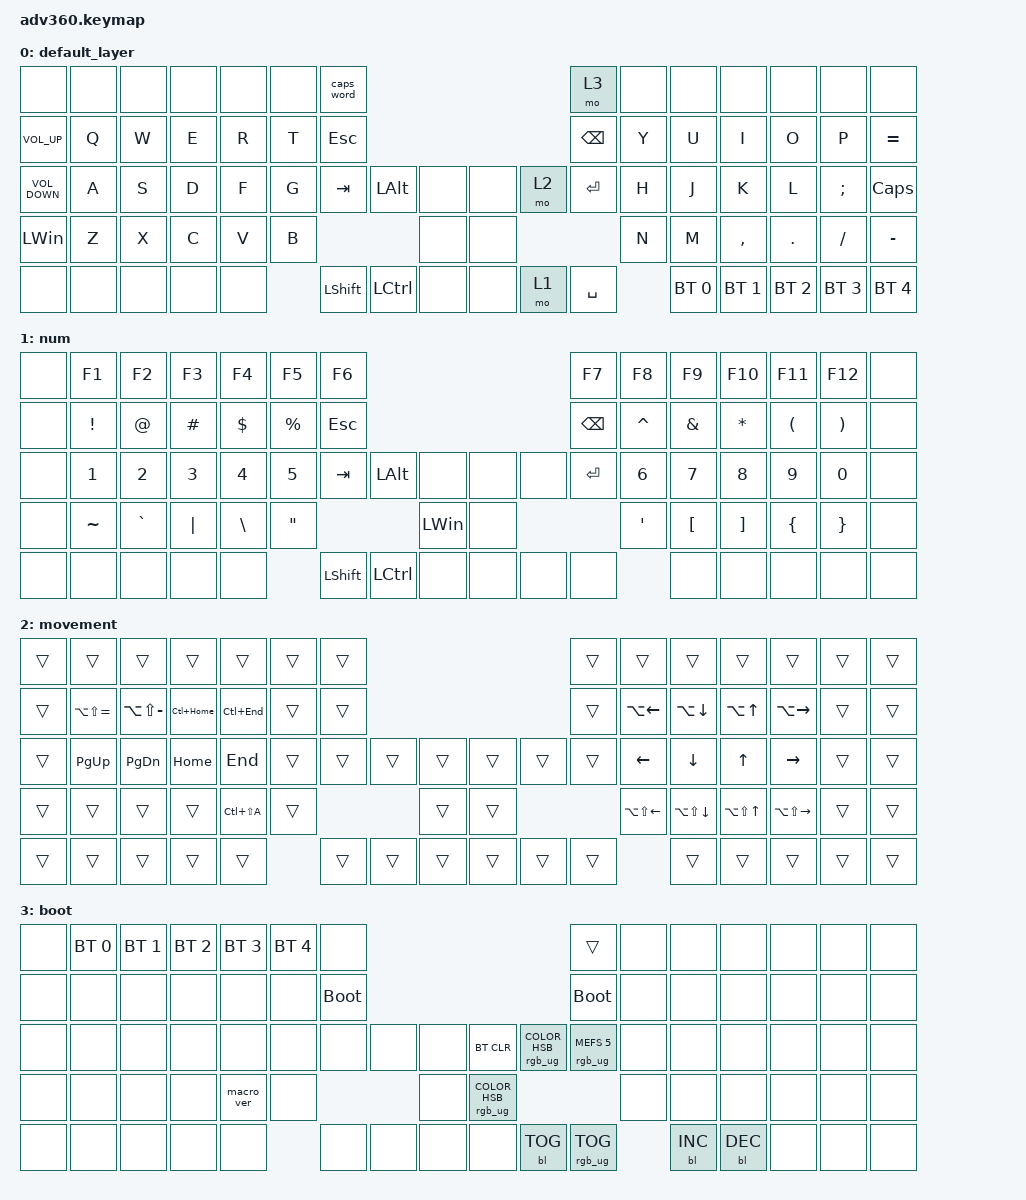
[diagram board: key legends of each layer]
/*
 * Copyright (c) 2020 The ZMK Contributors
 *
 * SPDX-License-Identifier: MIT
 */
/* THIS FILE WAS GENERATED!
 *
 * This file was generated automatically. You may or may not want to
 * edit it directly.
 */

#include <behaviors.dtsi>
#include <dt-bindings/zmk/backlight.h>
#include <dt-bindings/zmk/bt.h>
#include <dt-bindings/zmk/keys.h>
#include <dt-bindings/zmk/rgb.h>

/ {
    behaviors {
        #include "macros.dtsi"
    #include "version.dtsi"

        hm: homerow_mods {
            compatible = "zmk,behavior-hold-tap";
            label = "HOMEROW_MODS";
            #binding-cells = <2>;
            tapping-term-ms = <200>;
            quick_tap_ms = <175>;
            flavor = "tap-preferred";
            bindings = <&kp>, <&kp>;
        };
    };

    macros {
        quit_vim: quit_vim {
            compatible = "zmk,behavior-macro";
            #binding-cells = <0>;
            bindings = <&kp ESCAPE &kp COLON &kp W &kp Q &kp ENTER>;
            label = "QUIT_VIM";
        };

        open_vim: open_vim {
            compatible = "zmk,behavior-macro";
            #binding-cells = <0>;
            bindings = <&kp N &kp V &kp I &kp M &kp SPACE &kp DOT &kp ENTER>;
            label = "OPEN_VIM";
        };

        rgb_toggle: rgb_on {
            compatible = "zmk,behavior-macro";
            #binding-cells = <0>;
            bindings = <&rgb_ug RGB_TOG>;
            label = "RGB_ON";
        };

        rgb_cool: rgb_cool {
            compatible = "zmk,behavior-macro";
            #binding-cells = <0>;
            bindings = <&rgb_ug RGB_COLOR_HSB(0,100,50)>;
            label = "RGB_COOL";
        };

        rgb_test: rgb_test {
            compatible = "zmk,behavior-macro";
            #binding-cells = <0>;
            bindings = <&rgb_ug RGB_EFF>;
            label = "RGB_TEST";
        };
    };

    keymap {
        compatible = "zmk,keymap";

        default_layer {
            bindings = <
&none              &none  &none  &none  &none  &none  &caps_word                                             &mo 3          &none  &none         &none         &none         &none         &none
&kp C_VOLUME_UP    &kp Q  &kp W  &kp E  &kp R  &kp T  &kp ESCAPE                                             &kp BACKSPACE  &kp Y  &kp U         &kp I         &kp O         &kp P         &kp EQUAL
&kp C_VOLUME_DOWN  &kp A  &kp S  &kp D  &kp F  &kp G  &kp TAB         &kp LEFT_ALT  &none      &none  &mo 2  &kp ENTER      &kp H  &kp J         &kp K         &kp L         &kp SEMI      &kp CAPSLOCK
&kp LEFT_WIN       &kp Z  &kp X  &kp C  &kp V  &kp B                                &none      &none                        &kp N  &kp M         &kp COMMA     &kp DOT       &kp FSLH      &kp MINUS
&none              &none  &none  &none  &none         &kp LEFT_SHIFT  &kp LCTRL     &none      &none  &mo 1  &kp SPACE             &bt BT_SEL 0  &bt BT_SEL 1  &bt BT_SEL 2  &bt BT_SEL 3  &bt BT_SEL 4
            >;
        };

        num {
            bindings = <
&none  &kp F1        &kp F2        &kp F3        &kp F4         &kp F5             &kp F6                                                            &kp F7         &kp F8            &kp F9            &kp F10            &kp F11               &kp F12                &none
&none  &kp EXCL      &kp AT        &kp HASH      &kp DOLLAR     &kp PERCENT        &kp ESCAPE                                                        &kp BACKSPACE  &kp CARET         &kp AMPERSAND     &kp STAR           &kp LEFT_PARENTHESIS  &kp RIGHT_PARENTHESIS  &none
&none  &kp NUMBER_1  &kp NUMBER_2  &kp NUMBER_3  &kp NUMBER_4   &kp NUMBER_5       &kp TAB         &kp LEFT_ALT      &none             &none  &none  &kp ENTER      &kp NUMBER_6      &kp NUMBER_7      &kp NUMBER_8       &kp NUMBER_9          &kp NUMBER_0           &none
&none  &kp TILDE     &kp GRAVE     &kp PIPE      &kp BACKSLASH  &kp DOUBLE_QUOTES                                    &kp LEFT_WIN      &none                        &kp SINGLE_QUOTE  &kp LEFT_BRACKET  &kp RIGHT_BRACKET  &kp LEFT_BRACE        &kp RIGHT_BRACE        &none
&none  &none         &none         &none         &none                             &kp LEFT_SHIFT  &kp LEFT_CONTROL  &none             &none  &none  &none                            &none             &none              &none                 &none                  &none
            >;
        };

        movement {
            bindings = <
&trans  &trans             &trans             &trans        &trans         &trans  &trans                                      &trans  &trans            &trans            &trans                &trans             &trans  &trans
&trans  &kp LA(LS(EQUAL))  &kp LA(LS(MINUS))  &kp LC(HOME)  &kp LC(END)    &trans  &trans                                      &trans  &kp LA(LEFT)      &kp LA(DOWN)      &kp LA(UP)            &kp LA(RIGHT)      &trans  &trans
&trans  &kp PG_UP          &kp PAGE_DOWN      &kp HOME      &kp END        &trans  &trans  &trans  &trans      &trans  &trans  &trans  &kp LEFT          &kp DOWN          &kp UP                &kp RIGHT          &trans  &trans
&trans  &trans             &trans             &trans        &kp LC(LS(A))  &trans                  &trans      &trans                  &kp LA(LS(LEFT))  &kp LA(LS(DOWN))  &kp LA(LS(UP_ARROW))  &kp LA(LS(RIGHT))  &trans  &trans
&trans  &trans             &trans             &trans        &trans                 &trans  &trans  &trans      &trans  &trans  &trans                    &trans            &trans                &trans             &trans  &trans
            >;
        };

        boot {
            bindings = <
&none  &bt BT_SEL 0  &bt BT_SEL 1  &bt BT_SEL 2  &bt BT_SEL 3  &bt BT_SEL 4  &none                                                                                           &trans                  &none  &none       &none       &none  &none  &none
&none  &none         &none         &none         &none         &none         &bootloader                                                                                     &bootloader             &none  &none       &none       &none  &none  &none
&none  &none         &none         &none         &none         &none         &none        &none  &none      &bt BT_CLR                      &rgb_ug RGB_COLOR_HSB(0,100,50)  &rgb_ug RGB_MEFS_CMD 5  &none  &none       &none       &none  &none  &none
&none  &none         &none         &none         &macro_ver    &none                             &none      &rgb_ug RGB_COLOR_HSB(0,0,100)                                                           &none  &none       &none       &none  &none  &none
&none  &none         &none         &none         &none                       &none        &none  &none      &none                           &bl BL_TOG                       &rgb_ug RGB_TOG                &bl BL_INC  &bl BL_DEC  &none  &none  &none
            >;
        };
    };
};
